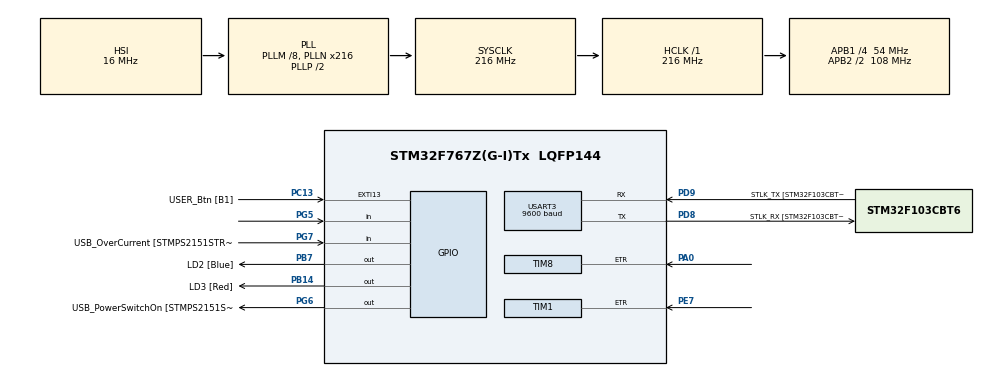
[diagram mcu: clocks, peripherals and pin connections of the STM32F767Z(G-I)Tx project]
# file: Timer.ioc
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Mcu.Family=STM32F7
Mcu.Name=STM32F767Z(G-I)Tx
Mcu.Package=LQFP144
NVIC.PriorityGroup=NVIC_PRIORITYGROUP_4
NVIC.TIM3_IRQn=true\:0\:0\:false\:false\:true
PA0/WKUP.Signal=S_TIM8_ETR
PA1.GPIO_Label=RMII_REF_CLK [LAN8742A-CZ-TR_REFCLK0]
PA1.Signal=ETH_REF_CLK
PA10.GPIO_Label=USB_ID
PA10.Signal=USB_OTG_FS_ID
PA11.GPIO_Label=USB_DM
PA11.Signal=USB_OTG_FS_DM
PA12.GPIO_Label=USB_DP
PA12.Signal=USB_OTG_FS_DP
PA13.GPIO_Label=TMS
PA13.Signal=SYS_JTMS-SWDIO
PA14.GPIO_Label=TCK
PA14.Signal=SYS_JTCK-SWCLK
PA2.GPIO_Label=RMII_MDIO [LAN8742A-CZ-TR_MDIO]
PA2.Signal=ETH_MDIO
PA7.GPIO_Label=RMII_CRS_DV [LAN8742A-CZ-TR_CRS_DV]
PA7.Signal=ETH_CRS_DV
PA8.GPIO_Label=USB_SOF [TP1]
PA8.Signal=USB_OTG_FS_SOF
PA9.GPIO_Label=USB_VBUS
PA9.Signal=USB_OTG_FS_VBUS
PB13.GPIO_Label=RMII_TXD1 [LAN8742A-CZ-TR_TXD1]
PB13.Signal=ETH_TXD1
PB14.GPIO_Label=LD3 [Red]
PB14.Signal=GPIO_Output
PB3.GPIO_Label=SW0
PB3.Signal=SYS_JTDO-SWO
PB7.GPIO_Label=LD2 [Blue]
PB7.Signal=GPIO_Output
PC1.GPIO_Label=RMII_MDC [LAN8742A-CZ-TR_MDC]
PC1.Signal=ETH_MDC
PC13.GPIO_Label=USER_Btn [B1]
PC13.Signal=GPXTI13
PC14/OSC32_IN.Signal=RCC_OSC32_IN
PC15/OSC32_OUT.Signal=RCC_OSC32_OUT
PC4.GPIO_Label=RMII_RXD0 [LAN8742A-CZ-TR_RXD0]
PC4.Signal=ETH_RXD0
PC5.GPIO_Label=RMII_RXD1 [LAN8742A-CZ-TR_RXD1]
PC5.Signal=ETH_RXD1
PD8.GPIO_Label=STLK_RX [STM32F103CBT6_PA3]
PD8.Mode=Asynchronous
PD8.Signal=USART3_TX
PD9.GPIO_Label=STLK_TX [STM32F103CBT6_PA2]
PD9.Mode=Asynchronous
PD9.Signal=USART3_RX
PE7.GPIO_Speed=GPIO_SPEED_FREQ_VERY_HIGH
PE7.Signal=S_TIM1_ETR
PG11.GPIO_Label=RMII_TX_EN [LAN8742A-CZ-TR_TXEN]
PG11.Signal=ETH_TX_EN
PG13.GPIO_Label=RMII_TXD0 [LAN8742A-CZ-TR_TXD0]
PG13.Signal=ETH_TXD0
PG5.GPIO_Mode=GPIO_MODE_INPUT
PG5.Signal=GPIO_Input
PG6.GPIO_Label=USB_PowerSwitchOn [STMPS2151STR_EN]
PG6.Signal=GPIO_Output
PG7.GPIO_Label=USB_OverCurrent [STMPS2151STR_FAULT]
PG7.Signal=GPIO_Input
PH0/OSC_IN.GPIO_Label=MCO [STM32F103CBT6_PA8]
PH0/OSC_IN.Signal=RCC_OSC_IN
PH1/OSC_OUT.Signal=RCC_OSC_OUT
ProjectManager.HeapSize=0x200
ProjectManager.StackSize=0x400
ProjectManager.TargetToolchain=TrueSTUDIO
RCC.48MHZClocksFreq_Value=24000000
RCC.AHBFreq_Value=216000000
RCC.APB1CLKDivider=RCC_HCLK_DIV4
RCC.APB1Freq_Value=54000000
RCC.APB1TimFreq_Value=108000000
RCC.APB2CLKDivider=RCC_HCLK_DIV2
RCC.APB2Freq_Value=108000000
RCC.APB2TimFreq_Value=216000000
RCC.CortexFreq_Value=216000000
RCC.HCLKFreq_Value=216000000
RCC.HSE_VALUE=16000000
RCC.HSI_VALUE=16000000
RCC.LSE_VALUE=32768
RCC.PLLM=8
RCC.PLLMUL=RCC_PLL_MUL9
RCC.PLLN=216
RCC.PRESCALERUSB=RCC_USBCLKSOURCE_PLL_DIV1_5
RCC.SYSCLKFreq_VALUE=216000000
RCC.SYSCLKSource=RCC_SYSCLKSOURCE_PLLCLK
RCC.SYSCLKSourceVirtual=RCC_SYSCLKSOURCE_PLLCLK
RCC.USBFreq_Value=216000000
RCC.VCOOutputFreq_Value=432000000
SH.S_TIM1_ETR.0=TIM1_ETR,ClockSourceETR_Mode2
SH.S_TIM8_ETR.0=TIM8_ETR,ClockSourceETR_Mode2
TIM1.CounterMode=TIM_COUNTERMODE_UP
TIM1.Period=65535
TIM3.ClockDivision=TIM_CLOCKDIVISION_DIV1
TIM3.Period=4
TIM3.Prescaler=21600
TIM8.Period=65535
USART3.BaudRate=9600
USART3.VirtualMode-Asynchronous=VM_ASYNC
USART3.WordLength=WORDLENGTH_8B
VP_TIM3_VS_ClockSourceINT.Mode=Internal
board=NUCLEO-F767ZI

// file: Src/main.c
/**
  ******************************************************************************
  * File Name          : main.c
  * Description        : Main program body
  ******************************************************************************
  ** This notice applies to any and all portions of this file
  * that are not between comment pairs USER CODE BEGIN and
  * USER CODE END. Other portions of this file, whether
  * inserted by the user or by software development tools
  * are owned by their respective copyright owners.
  *
  * COPYRIGHT(c) 2017 STMicroelectronics
  *
  * Redistribution and use in source and binary forms, with or without modification,
  * are permitted provided that the following conditions are met:
  *   1. Redistributions of source code must retain the above copyright notice,
  *      this list of conditions and the following disclaimer.
  *   2. Redistributions in binary form must reproduce the above copyright notice,
  *      this list of conditions and the following disclaimer in the documentation
  *      and/or other materials provided with the distribution.
  *   3. Neither the name of STMicroelectronics nor the names of its contributors
  *      may be used to endorse or promote products derived from this software
  *      without specific prior written permission.
  *
  * THIS SOFTWARE IS PROVIDED BY THE COPYRIGHT HOLDERS AND CONTRIBUTORS "AS IS"
  * AND ANY EXPRESS OR IMPLIED WARRANTIES, INCLUDING, BUT NOT LIMITED TO, THE
  * IMPLIED WARRANTIES OF MERCHANTABILITY AND FITNESS FOR A PARTICULAR PURPOSE ARE
  * DISCLAIMED. IN NO EVENT SHALL THE COPYRIGHT HOLDER OR CONTRIBUTORS BE LIABLE
  * FOR ANY DIRECT, INDIRECT, INCIDENTAL, SPECIAL, EXEMPLARY, OR CONSEQUENTIAL
  * DAMAGES (INCLUDING, BUT NOT LIMITED TO, PROCUREMENT OF SUBSTITUTE GOODS OR
  * SERVICES; LOSS OF USE, DATA, OR PROFITS; OR BUSINESS INTERRUPTION) HOWEVER
  * CAUSED AND ON ANY THEORY OF LIABILITY, WHETHER IN CONTRACT, STRICT LIABILITY,
  * OR TORT (INCLUDING NEGLIGENCE OR OTHERWISE) ARISING IN ANY WAY OUT OF THE USE
  * OF THIS SOFTWARE, EVEN IF ADVISED OF THE POSSIBILITY OF SUCH DAMAGE.
  *
  ******************************************************************************
  */
#include "main.h"
#include "stm32f7xx_hal.h"

/* USER CODE BEGIN Includes */
//%%%%%%%%%%%%%%%%%%%%%%%%%%%%%%%%%%%%%%%%%%%%%%%%%%%%%%%%%%%%%%%%%%%%%%%%%%%%%
/* Project Author : Anthony Mukuka Mwila
 * Student number : 17326656
 * Project Supervisor : Mr Arno Barnard
 * Department of Electrical and Electronics Engineering
 * Stellenbosch University South Africa
 * Final Year Project Title : Dual Channel 100 ns Pulse Counter with Ethernet Interface
 * Purpose of Project in Context of Larger Project : This Atollic project contains code for
 * implementing dual channel pulse counting via TIM1 and TIM8 with the pulses being measured
 * being used as External Clock Sources for the timers. The counted Pulses are printed via ST-Link to Hyperterminal
 * at a Baud Rate of 9600 , with * Data bits , No Parity and 1 Stop Bit.
 *
 * Files Containing Project Code edited by Author : main.c , stm32f7xx_it.c
 * NOTE : ALL CODE WRITTEN BY THE AUTHOR HAS BEEN PLACED BETWEEN ROWS OF PERCENTAGE '%'
 * TO MAKE IT VISIBLE.
 *
 * */
//%%%%%%%%%%%%%%%%%%%%%%%%%%%%%%%%%%%%%%%%%%%%%%%%%%%%%%%%%%%%%%%%%%%%%%%%%%%%%%%%
/* USER CODE END Includes */

TIM_HandleTypeDef htim1;
TIM_HandleTypeDef htim3;
TIM_HandleTypeDef htim8;

UART_HandleTypeDef huart3;

/* USER CODE BEGIN PV */
/* Private variables ---------------------------------------------------------*/
//%%%%%%%%%%%%%%%%%%%%%%%%%%%%%%%%%%%%%%%%%%%%%%%%%%%%%%%%%%%%%%%%%%%%%%%%%%%%%
// Introduction string for Count Data
uint8_t Intro2[14]=("\nCount B is :");
uint8_t Intro1[14]=("\nCount A is :");
// External Variables Watching the Timer Counters
uint32_t GlobalCount1   ;
uint32_t GlobalCount2   ;
// uint32_t variable to hold Counts to be sent via the UART
uint32_t Channel1Send = 0 ;
uint32_t Channel2Send = 0 ;
// Variables used to Calculate Counts from Timer Counter integers
uint32_t CNT_C1 = 0 ,CNT_P1 = 0, CNT_DIF1 ;
uint32_t CNT_C2 = 0 ,CNT_P2 = 0, CNT_DIF2 ;

// char arrays to hold Counts to be sent via the UART
char Counter1[10] ;
char Counter2[10] ;

// External Tick Variables
int SecCount ;
int msFlag ;
//%%%%%%%%%%%%%%%%%%%%%%%%%%%%%%%%%%%%%%%%%%%%%%%%%%%%%%%%%%%%%%%%%%%%%%%%%%%%%%
/* USER CODE END PV */

void SystemClock_Config(void);
static void MX_GPIO_Init(void);
static void MX_TIM3_Init(void);
static void MX_TIM1_Init(void);
static void MX_USART3_UART_Init(void);
static void MX_TIM8_Init(void);

/* USER CODE BEGIN PFP */
/* Private function prototypes -----------------------------------------------*/
//%%%%%%%%%%%%%%%%%%%%%%%%%%%%%%%%%%%%%%%%%%%%%%%%%%%%%%%%%%%%%%%%%%%%%%%%%%%%%%
void CounterClear(char count[]);
//%%%%%%%%%%%%%%%%%%%%%%%%%%%%%%%%%%%%%%%%%%%%%%%%%%%%%%%%%%%%%%%%%%%%%%%%%%%%%%
/* USER CODE END PFP */

int main(void)
{

  /* MCU Configuration----------------------------------------------------------*/

  /* Reset of all peripherals, Initializes the Flash interface and the Systick. */
  HAL_Init();

  /* Configure the system clock */
  SystemClock_Config();

  /* Initialize all configured peripherals */
  MX_GPIO_Init();
  MX_TIM3_Init();
  MX_TIM1_Init();
  MX_USART3_UART_Init();
  MX_TIM8_Init();

  /* USER CODE BEGIN 2 */
//%%%%%%%%%%%%%%%%%%%%%%%%%%%%%%%%%%%%%%%%%%%%%%%%%%%%%%%%%%%%%%%%%%%%%%%%%%%%%%
HAL_TIM_Base_Start_IT(&htim3);
HAL_TIM_Base_Start(&htim1);
HAL_TIM_Base_Start(&htim8);
//%%%%%%%%%%%%%%%%%%%%%%%%%%%%%%%%%%%%%%%%%%%%%%%%%%%%%%%%%%%%%%%%%%%%%%%%%%%%%%
  /* USER CODE END 2 */

  /* Infinite loop */
  while (1)
  {

  /* USER CODE BEGIN 3 */
//%%%%%%%%%%%%%%%%%%%%%%%%%%%%%%%%%%%%%%%%%%%%%%%%%%%%%%%%%%%%%%%%%%%%%%%%%%%%%%
	      if(msFlag == 1){
	    	  // LED Toggle to Confirm timer Intervals
	    	   HAL_GPIO_TogglePin( GPIOB ,LD3_Pin|LD2_Pin);

	    	   // Obtaining current TIM1 Counter Register Value
	    	   CNT_C1 = GlobalCount1 ;
	    	   CNT_C2 = GlobalCount2 ;
	    	   //Calculation of Counts in 1ms time period
	    	   CNT_DIF1 = CNT_C1 - CNT_P1 ;
	    	   CNT_DIF2 = CNT_C2 - CNT_P2 ;
	    	   // Counter Overflow Check Channel 1
	    	   if(CNT_C1 < CNT_P1 )
	    	   {
	    	   //Over Flow Condition Channel 1
	    	   CNT_DIF1 = (65535 - CNT_P1 )+ CNT_C1 ;
	    	   }
	    	   if(CNT_C2 < CNT_P2 )
			   {
			   //Over Flow Condition Channel 2
			   CNT_DIF2 = (65535 - CNT_P2 )+ CNT_C2 ;
			   }
	    	  // Passing Counts for last ms time period to External Variable
	    	   Channel1Send = CNT_DIF1 ;
	    	   Channel2Send = CNT_DIF2 ;
	    	   // Moving Current Count to Previous Count Holder
	    	    CNT_P1 = CNT_C1 ;
	    	    CNT_P2 = CNT_C2 ;
	    	    msFlag = 0;
//%%%%%%%%%%%%%%%%%%%%%%%%%%%%%%%%%%%%%%%%%%%%%%%%%%%%%%%%%%%%%%%%%%%%%%%%%%%%%

	      }

//%%%%%%%%%%%%%%%%%%%%%%%%%%%%%%%%%%%%%%%%%%%%%%%%%%%%%%%%%%%%%%%%%%%%%%%%%%%%%%
 if(SecCount == 1000) // Code to print Count Data at 1s intervals via UART
{       //Clearing of Buffers that hold character equivalent of Count
		 CounterClear(Counter1);
		 CounterClear(Counter2);

		//Writing Updated Counter Values to UART Buffer
		 sprintf(Counter1, "%li", Channel1Send);
		 sprintf(Counter2, "%li", Channel2Send);

		 // UART TRansmissions of Count Data
		 HAL_UART_Transmit( &huart3, Intro1 , 14, 14);
		 HAL_Delay(5);
		 HAL_UART_Transmit( &huart3, Counter1 , 10, 10);
		 HAL_Delay(5);
		 HAL_UART_Transmit( &huart3, Intro2 , 14, 14);
		 HAL_Delay(5);
		 HAL_UART_Transmit( &huart3, Counter2 , 10, 10);
		 HAL_Delay(5);

		SecCount = 0 ; // Resetting the Per Second Ticker Variable
	     //%%%%%%%%%%%%%%%%%%%%%%%%%%%%%%%%%%%%%%%%%%%%%%%%%%%%%%%%%%%%%%%%%%%%%%%%%%%%%%
  }
  /* USER CODE END 3 */

}
}

/** System Clock Configuration
*/
void SystemClock_Config(void)
{

  RCC_OscInitTypeDef RCC_OscInitStruct;
  RCC_ClkInitTypeDef RCC_ClkInitStruct;
  RCC_PeriphCLKInitTypeDef PeriphClkInitStruct;

    /**Configure the main internal regulator output voltage
    */
  __HAL_RCC_PWR_CLK_ENABLE();

  __HAL_PWR_VOLTAGESCALING_CONFIG(PWR_REGULATOR_VOLTAGE_SCALE1);

    /**Initializes the CPU, AHB and APB busses clocks
    */
  RCC_OscInitStruct.OscillatorType = RCC_OSCILLATORTYPE_HSI;
  RCC_OscInitStruct.HSIState = RCC_HSI_ON;
  RCC_OscInitStruct.HSICalibrationValue = 16;
  RCC_OscInitStruct.PLL.PLLState = RCC_PLL_ON;
  RCC_OscInitStruct.PLL.PLLSource = RCC_PLLSOURCE_HSI;
  RCC_OscInitStruct.PLL.PLLM = 8;
  RCC_OscInitStruct.PLL.PLLN = 216;
  RCC_OscInitStruct.PLL.PLLP = RCC_PLLP_DIV2;
  RCC_OscInitStruct.PLL.PLLQ = 2;
  if (HAL_RCC_OscConfig(&RCC_OscInitStruct) != HAL_OK)
  {
    _Error_Handler(__FILE__, __LINE__);
  }

    /**Activate the Over-Drive mode
    */
  if (HAL_PWREx_EnableOverDrive() != HAL_OK)
  {
    _Error_Handler(__FILE__, __LINE__);
  }

    /**Initializes the CPU, AHB and APB busses clocks
    */
  RCC_ClkInitStruct.ClockType = RCC_CLOCKTYPE_HCLK|RCC_CLOCKTYPE_SYSCLK
                              |RCC_CLOCKTYPE_PCLK1|RCC_CLOCKTYPE_PCLK2;
  RCC_ClkInitStruct.SYSCLKSource = RCC_SYSCLKSOURCE_PLLCLK;
  RCC_ClkInitStruct.AHBCLKDivider = RCC_SYSCLK_DIV1;
  RCC_ClkInitStruct.APB1CLKDivider = RCC_HCLK_DIV4;
  RCC_ClkInitStruct.APB2CLKDivider = RCC_HCLK_DIV2;

  if (HAL_RCC_ClockConfig(&RCC_ClkInitStruct, FLASH_LATENCY_7) != HAL_OK)
  {
    _Error_Handler(__FILE__, __LINE__);
  }

  PeriphClkInitStruct.PeriphClockSelection = RCC_PERIPHCLK_USART3;
  PeriphClkInitStruct.Usart3ClockSelection = RCC_USART3CLKSOURCE_PCLK1;
  if (HAL_RCCEx_PeriphCLKConfig(&PeriphClkInitStruct) != HAL_OK)
  {
    _Error_Handler(__FILE__, __LINE__);
  }

    /**Configure the Systick interrupt time
    */
  HAL_SYSTICK_Config(HAL_RCC_GetHCLKFreq()/1000);

    /**Configure the Systick
    */
  HAL_SYSTICK_CLKSourceConfig(SYSTICK_CLKSOURCE_HCLK);

  /* SysTick_IRQn interrupt configuration */
  HAL_NVIC_SetPriority(SysTick_IRQn, 0, 0);
}

/* TIM1 init function */
static void MX_TIM1_Init(void)
{

  TIM_ClockConfigTypeDef sClockSourceConfig;
  TIM_MasterConfigTypeDef sMasterConfig;

  htim1.Instance = TIM1;
  htim1.Init.Prescaler = 0;
  htim1.Init.CounterMode = TIM_COUNTERMODE_UP;
  htim1.Init.Period = 65535;
  htim1.Init.ClockDivision = TIM_CLOCKDIVISION_DIV1;
  htim1.Init.RepetitionCounter = 0;
  htim1.Init.AutoReloadPreload = TIM_AUTORELOAD_PRELOAD_DISABLE;
  if (HAL_TIM_Base_Init(&htim1) != HAL_OK)
  {
    _Error_Handler(__FILE__, __LINE__);
  }

  sClockSourceConfig.ClockSource = TIM_CLOCKSOURCE_ETRMODE2;
  sClockSourceConfig.ClockPolarity = TIM_CLOCKPOLARITY_NONINVERTED;
  sClockSourceConfig.ClockPrescaler = TIM_CLOCKPRESCALER_DIV1;
  sClockSourceConfig.ClockFilter = 0;
  if (HAL_TIM_ConfigClockSource(&htim1, &sClockSourceConfig) != HAL_OK)
  {
    _Error_Handler(__FILE__, __LINE__);
  }

  sMasterConfig.MasterOutputTrigger = TIM_TRGO_RESET;
  sMasterConfig.MasterOutputTrigger2 = TIM_TRGO2_RESET;
  sMasterConfig.MasterSlaveMode = TIM_MASTERSLAVEMODE_DISABLE;
  if (HAL_TIMEx_MasterConfigSynchronization(&htim1, &sMasterConfig) != HAL_OK)
  {
    _Error_Handler(__FILE__, __LINE__);
  }

}

/* TIM3 init function */
static void MX_TIM3_Init(void)
{

  TIM_ClockConfigTypeDef sClockSourceConfig;
  TIM_MasterConfigTypeDef sMasterConfig;

  htim3.Instance = TIM3;
  htim3.Init.Prescaler = 21600;
  htim3.Init.CounterMode = TIM_COUNTERMODE_UP;
  htim3.Init.Period = 4;
  htim3.Init.ClockDivision = TIM_CLOCKDIVISION_DIV1;
  htim3.Init.AutoReloadPreload = TIM_AUTORELOAD_PRELOAD_DISABLE;
  if (HAL_TIM_Base_Init(&htim3) != HAL_OK)
  {
    _Error_Handler(__FILE__, __LINE__);
  }

  sClockSourceConfig.ClockSource = TIM_CLOCKSOURCE_INTERNAL;
  if (HAL_TIM_ConfigClockSource(&htim3, &sClockSourceConfig) != HAL_OK)
  {
    _Error_Handler(__FILE__, __LINE__);
  }

  sMasterConfig.MasterOutputTrigger = TIM_TRGO_RESET;
  sMasterConfig.MasterSlaveMode = TIM_MASTERSLAVEMODE_DISABLE;
  if (HAL_TIMEx_MasterConfigSynchronization(&htim3, &sMasterConfig) != HAL_OK)
  {
    _Error_Handler(__FILE__, __LINE__);
  }

}

/* TIM8 init function */
static void MX_TIM8_Init(void)
{

  TIM_ClockConfigTypeDef sClockSourceConfig;
  TIM_MasterConfigTypeDef sMasterConfig;

  htim8.Instance = TIM8;
  htim8.Init.Prescaler = 0;
  htim8.Init.CounterMode = TIM_COUNTERMODE_UP;
  htim8.Init.Period = 65535;
  htim8.Init.ClockDivision = TIM_CLOCKDIVISION_DIV1;
  htim8.Init.RepetitionCounter = 0;
  htim8.Init.AutoReloadPreload = TIM_AUTORELOAD_PRELOAD_DISABLE;
  if (HAL_TIM_Base_Init(&htim8) != HAL_OK)
  {
    _Error_Handler(__FILE__, __LINE__);
  }

  sClockSourceConfig.ClockSource = TIM_CLOCKSOURCE_ETRMODE2;
  sClockSourceConfig.ClockPolarity = TIM_CLOCKPOLARITY_NONINVERTED;
  sClockSourceConfig.ClockPrescaler = TIM_CLOCKPRESCALER_DIV1;
  sClockSourceConfig.ClockFilter = 0;
  if (HAL_TIM_ConfigClockSource(&htim8, &sClockSourceConfig) != HAL_OK)
  {
    _Error_Handler(__FILE__, __LINE__);
  }

  sMasterConfig.MasterOutputTrigger = TIM_TRGO_RESET;
  sMasterConfig.MasterOutputTrigger2 = TIM_TRGO2_RESET;
  sMasterConfig.MasterSlaveMode = TIM_MASTERSLAVEMODE_DISABLE;
  if (HAL_TIMEx_MasterConfigSynchronization(&htim8, &sMasterConfig) != HAL_OK)
  {
    _Error_Handler(__FILE__, __LINE__);
  }

}

/* USART3 init function */
static void MX_USART3_UART_Init(void)
{

  huart3.Instance = USART3;
  huart3.Init.BaudRate = 9600;
  huart3.Init.WordLength = UART_WORDLENGTH_8B;
  huart3.Init.StopBits = UART_STOPBITS_1;
  huart3.Init.Parity = UART_PARITY_NONE;
  huart3.Init.Mode = UART_MODE_TX_RX;
  huart3.Init.HwFlowCtl = UART_HWCONTROL_NONE;
  huart3.Init.OverSampling = UART_OVERSAMPLING_16;
  huart3.Init.OneBitSampling = UART_ONE_BIT_SAMPLE_DISABLE;
  huart3.AdvancedInit.AdvFeatureInit = UART_ADVFEATURE_NO_INIT;
  if (HAL_UART_Init(&huart3) != HAL_OK)
  {
    _Error_Handler(__FILE__, __LINE__);
  }

}

/** Configure pins as
        * Analog
        * Input
        * Output
        * EVENT_OUT
        * EXTI
     PC1   ------> ETH_MDC
     PA1   ------> ETH_REF_CLK
     PA2   ------> ETH_MDIO
     PA7   ------> ETH_CRS_DV
     PC4   ------> ETH_RXD0
     PC5   ------> ETH_RXD1
     PB13   ------> ETH_TXD1
     PA8   ------> USB_OTG_FS_SOF
     PA9   ------> USB_OTG_FS_VBUS
     PA10   ------> USB_OTG_FS_ID
     PA11   ------> USB_OTG_FS_DM
     PA12   ------> USB_OTG_FS_DP
     PG11   ------> ETH_TX_EN
     PG13   ------> ETH_TXD0
*/
static void MX_GPIO_Init(void)
{

  GPIO_InitTypeDef GPIO_InitStruct;

  /* GPIO Ports Clock Enable */
  __HAL_RCC_GPIOC_CLK_ENABLE();
  __HAL_RCC_GPIOH_CLK_ENABLE();
  __HAL_RCC_GPIOA_CLK_ENABLE();
  __HAL_RCC_GPIOE_CLK_ENABLE();
  __HAL_RCC_GPIOB_CLK_ENABLE();
  __HAL_RCC_GPIOD_CLK_ENABLE();
  __HAL_RCC_GPIOG_CLK_ENABLE();

  /*Configure GPIO pin Output Level */
  HAL_GPIO_WritePin(GPIOB, LD3_Pin|LD2_Pin, GPIO_PIN_RESET);

  /*Configure GPIO pin Output Level */
  HAL_GPIO_WritePin(USB_PowerSwitchOn_GPIO_Port, USB_PowerSwitchOn_Pin, GPIO_PIN_RESET);

  /*Configure GPIO pin : USER_Btn_Pin */
  GPIO_InitStruct.Pin = USER_Btn_Pin;
  GPIO_InitStruct.Mode = GPIO_MODE_IT_RISING;
  GPIO_InitStruct.Pull = GPIO_NOPULL;
  HAL_GPIO_Init(USER_Btn_GPIO_Port, &GPIO_InitStruct);

  /*Configure GPIO pins : RMII_MDC_Pin RMII_RXD0_Pin RMII_RXD1_Pin */
  GPIO_InitStruct.Pin = RMII_MDC_Pin|RMII_RXD0_Pin|RMII_RXD1_Pin;
  GPIO_InitStruct.Mode = GPIO_MODE_AF_PP;
  GPIO_InitStruct.Pull = GPIO_NOPULL;
  GPIO_InitStruct.Speed = GPIO_SPEED_FREQ_VERY_HIGH;
  GPIO_InitStruct.Alternate = GPIO_AF11_ETH;
  HAL_GPIO_Init(GPIOC, &GPIO_InitStruct);

  /*Configure GPIO pins : RMII_REF_CLK_Pin RMII_MDIO_Pin RMII_CRS_DV_Pin */
  GPIO_InitStruct.Pin = RMII_REF_CLK_Pin|RMII_MDIO_Pin|RMII_CRS_DV_Pin;
  GPIO_InitStruct.Mode = GPIO_MODE_AF_PP;
  GPIO_InitStruct.Pull = GPIO_NOPULL;
  GPIO_InitStruct.Speed = GPIO_SPEED_FREQ_VERY_HIGH;
  GPIO_InitStruct.Alternate = GPIO_AF11_ETH;
  HAL_GPIO_Init(GPIOA, &GPIO_InitStruct);

  /*Configure GPIO pin : RMII_TXD1_Pin */
  GPIO_InitStruct.Pin = RMII_TXD1_Pin;
  GPIO_InitStruct.Mode = GPIO_MODE_AF_PP;
  GPIO_InitStruct.Pull = GPIO_NOPULL;
  GPIO_InitStruct.Speed = GPIO_SPEED_FREQ_VERY_HIGH;
  GPIO_InitStruct.Alternate = GPIO_AF11_ETH;
  HAL_GPIO_Init(RMII_TXD1_GPIO_Port, &GPIO_InitStruct);

  /*Configure GPIO pins : LD3_Pin LD2_Pin */
  GPIO_InitStruct.Pin = LD3_Pin|LD2_Pin;
  GPIO_InitStruct.Mode = GPIO_MODE_OUTPUT_PP;
  GPIO_InitStruct.Pull = GPIO_NOPULL;
  GPIO_InitStruct.Speed = GPIO_SPEED_FREQ_LOW;
  HAL_GPIO_Init(GPIOB, &GPIO_InitStruct);

  /*Configure GPIO pins : PG5 USB_OverCurrent_Pin */
  GPIO_InitStruct.Pin = GPIO_PIN_5|USB_OverCurrent_Pin;
  GPIO_InitStruct.Mode = GPIO_MODE_INPUT;
  GPIO_InitStruct.Pull = GPIO_NOPULL;
  HAL_GPIO_Init(GPIOG, &GPIO_InitStruct);

  /*Configure GPIO pin : USB_PowerSwitchOn_Pin */
  GPIO_InitStruct.Pin = USB_PowerSwitchOn_Pin;
  GPIO_InitStruct.Mode = GPIO_MODE_OUTPUT_PP;
  GPIO_InitStruct.Pull = GPIO_NOPULL;
  GPIO_InitStruct.Speed = GPIO_SPEED_FREQ_LOW;
  HAL_GPIO_Init(USB_PowerSwitchOn_GPIO_Port, &GPIO_InitStruct);

  /*Configure GPIO pins : USB_SOF_Pin USB_ID_Pin USB_DM_Pin USB_DP_Pin */
  GPIO_InitStruct.Pin = USB_SOF_Pin|USB_ID_Pin|USB_DM_Pin|USB_DP_Pin;
  GPIO_InitStruct.Mode = GPIO_MODE_AF_PP;
  GPIO_InitStruct.Pull = GPIO_NOPULL;
  GPIO_InitStruct.Speed = GPIO_SPEED_FREQ_VERY_HIGH;
  GPIO_InitStruct.Alternate = GPIO_AF10_OTG_FS;
  HAL_GPIO_Init(GPIOA, &GPIO_InitStruct);

  /*Configure GPIO pin : USB_VBUS_Pin */
  GPIO_InitStruct.Pin = USB_VBUS_Pin;
  GPIO_InitStruct.Mode = GPIO_MODE_INPUT;
  GPIO_InitStruct.Pull = GPIO_NOPULL;
  HAL_GPIO_Init(USB_VBUS_GPIO_Port, &GPIO_InitStruct);

  /*Configure GPIO pins : RMII_TX_EN_Pin RMII_TXD0_Pin */
  GPIO_InitStruct.Pin = RMII_TX_EN_Pin|RMII_TXD0_Pin;
  GPIO_InitStruct.Mode = GPIO_MODE_AF_PP;
  GPIO_InitStruct.Pull = GPIO_NOPULL;
  GPIO_InitStruct.Speed = GPIO_SPEED_FREQ_VERY_HIGH;
  GPIO_InitStruct.Alternate = GPIO_AF11_ETH;
  HAL_GPIO_Init(GPIOG, &GPIO_InitStruct);

}

/* USER CODE BEGIN 4 */
//%%%%%%%%%%%%%%%%%%%%%%%%%%%%%%%%%%%%%%%%%%%%%%%%%%%%%%%%%%%%%%%%%%%%%%%%%%%%%%
/* Function to clear the contents of the counter char array used to store the
 * the character version of the unsigned 32 bit integer representing the external
 * pulse count per ms interval */
void CounterClear(char count[]){
	int i =0; ;

	while (count[i] != '\0' )
	{

		count[i] = '\0' ;
		i++ ;
	}
}
//%%%%%%%%%%%%%%%%%%%%%%%%%%%%%%%%%%%%%%%%%%%%%%%%%%%%%%%%%%%%%%%%%%%%%%%%%%%%%%

/* USER CODE END 4 */

void _Error_Handler(char * file, int line)
{
  while(1)
  {
  }
}

/************************ (C) COPYRIGHT STMicroelectronics *****END OF FILE****/
